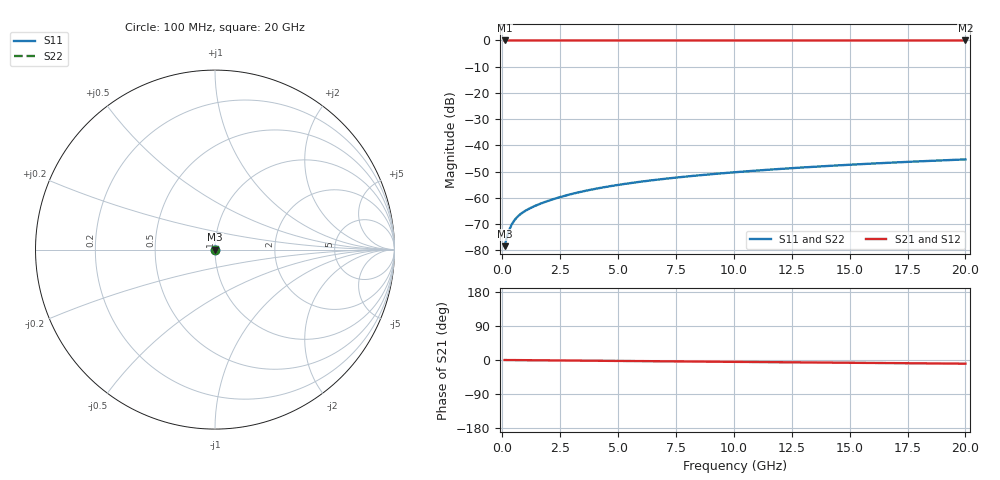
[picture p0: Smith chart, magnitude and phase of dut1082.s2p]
! Touchstone file exported from HFSS 2026.1.0
!  File:  C:/ffzhzh/LocalFiles/Ansys_Project_Files/temp_train_TSV_1082_1783190127_55132.aedt
!  Generated:  02:36:53 AM Jul  5, 2026
!  Design:  TSV
!  Project:  temp_train_TSV_1082_1783190127_55132
! Variables:
!  h_bsmrdl = 2um
!  h_ox = 20um
!  h_rdl = 5um
!  h_sub = 97.43um
!  h_tmrdl = 5um
!  h_tsv = 97.43um
!  h_via = 3um
!  l_bsmrdl = 300um
!  l_sub = 426.84um
!  l_tmrdl = 200um
!  m_sub = 200um
!  pitch = 55.65um
!  r_tsv = 13.42um
!  s_tmrdl = 10um
!  w_bsmrdl = 18um
!  w_sub = 500um
!  w_tmrdl = 12um
!  x_tsv_center1 = 206um
!  x_tsv_center2 = 524um
!  x_tsv_center3 = 736um
!  x_tsv_center4 = 1054um
!  x_tsv_center5 = 1266um
!  x_tsv_center6 = 1584um
# GHz S MA R 50.000000
! Terminal data exported
! Port[1] = TSV1_1_T1
! Port[2] = TSV1_1_T2
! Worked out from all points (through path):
!   200 points, 100 MHz to 20 GHz, reference 50 ohm
!   highest |S21| = 0.00 dB at 100 MHz (marker M1); lowest = 0.0 dB at 20 GHz (marker M2)
!   group delay of S21, straight-line fit = 1.35 ps
!   lowest |S11| = -78.4 dB at 100 MHz (marker M3), VSWR 1.00, Z = 50 + j0.00747 ohm
!   |S11| at or under -10 dB: start of sweep to end of sweep
!   |S22| runs from -78.4 to -45.3 dB; largest |S21 - S12| = 3.1e-15
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0.1  0.0001203 38.4  0.9999 -0.1  0.9999 -0.1  0.0001203 38.4
! Gamma 0 0 0 0
! Port Impedance 50 0 50 0
0.2  0.0001821 52.8  0.9999 -0.1  0.9999 -0.1  0.0001821 52.8
0.3  0.000247 57.4  0.9999 -0.2  0.9999 -0.2  0.000247 57.4
0.4  0.0003077 58.8  0.9998 -0.2  0.9998 -0.2  0.0003077 58.8
0.5  0.0003626 59.0  0.9998 -0.3  0.9998 -0.3  0.0003626 59.0
0.6  0.0004117 58.9  0.9998 -0.3  0.9998 -0.3  0.0004117 58.9
0.7  0.0004559 58.8  0.9998 -0.4  0.9998 -0.4  0.000456 58.8
0.9  0.0005339 58.8  0.9997 -0.5  0.9997 -0.5  0.000534 58.8
1.1  0.0006032 59.2  0.9997 -0.5  0.9997 -0.5  0.0006032 59.2
1.3  0.000668 59.9  0.9997 -0.6  0.9997 -0.6  0.000668 59.9
1.9  0.0008539 62.3  0.9996 -0.9  0.9996 -0.9  0.0008539 62.3
2.6  0.001068 64.6  0.9996 -1.3  0.9996 -1.3  0.001068 64.6
3.5  0.001338 66.3  0.9995 -1.7  0.9995 -1.7  0.001338 66.3
4.2  0.001542 67.1  0.9994 -2.1  0.9994 -2.1  0.001542 67.1
5  0.001769 67.7  0.9994 -2.4  0.9994 -2.4  0.001769 67.7
5.9  0.002016 68.1  0.9993 -2.9  0.9993 -2.9  0.002016 68.1
6.8  0.002256 68.4  0.9993 -3.3  0.9993 -3.3  0.002255 68.4
8.3  0.002645 68.8  0.9992 -4.1  0.9992 -4.1  0.002644 68.8
10.1  0.003099 69.0  0.9991 -4.9  0.9991 -4.9  0.003098 69.0
13.4  0.003905 68.8  0.999 -6.5  0.999 -6.5  0.003905 68.8
16.7  0.004678 68.2  0.9989 -8.1  0.9989 -8.1  0.004678 68.3
20  0.005412 67.3  0.9988 -9.7  0.9988 -9.7  0.005411 67.4
